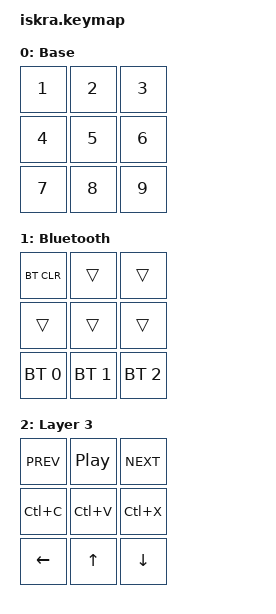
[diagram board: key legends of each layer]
#include <behaviors.dtsi>
#include <dt-bindings/zmk/keys.h>
#include <dt-bindings/zmk/bt.h>

/ {
	keymap {
		compatible = "zmk,keymap";

		base {
			display-name = "Base";
			bindings = <
				&kp N1  &kp N2  &kp N3
				&kp N4  &kp N5  &kp N6
				&kp N7  &kp N8  &kp N9
			>;
		};

		bt_layer {
            display-name = "Bluetooth";
            bindings = <
                &bt BT_CLR   &trans       &trans        // Put BT_CLR on the top left key
                &trans       &trans       &trans
                &bt BT_SEL 0 &bt BT_SEL 1 &bt BT_SEL 2  // Start at profile 0
            >;
        };

		layer3 {
			display-name = "Layer 3";
			bindings = <
				&kp C_PREV &kp C_PLAY_PAUSE &kp C_NEXT
				&kp LC(C)   &kp LC(V)        &kp LC(X)
				&kp LEFT    &kp UP           &kp DOWN
			>;
		};
	};

	combos {
		compatible = "zmk,combos";
		combo_bt: combo_bt { timeout-ms = <150>; key-positions = <3 4 5>; bindings = <&to 1>; };
		combo_base: combo_base { timeout-ms = <150>; key-positions = <0 1 2>; bindings = <&to 0>; };
		combo_l3: combo_l3 { timeout-ms = <150>; key-positions = <6 7 8>; bindings = <&to 2>; };
		combo_studio_unlock: combo_studio_unlock { timeout-ms = <150>; key-positions = <0 1>; bindings = <&studio_unlock>; };
	};
};
